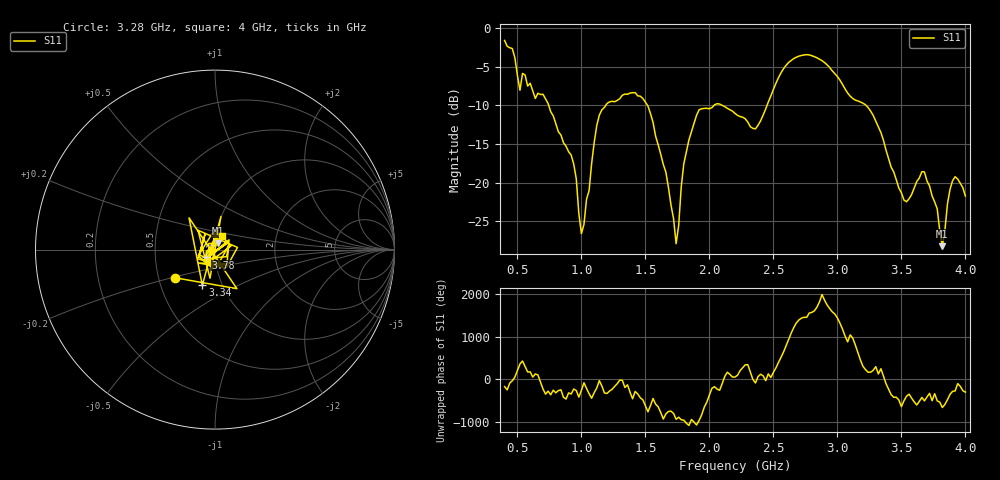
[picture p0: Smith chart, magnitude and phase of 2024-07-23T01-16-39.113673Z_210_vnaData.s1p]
!Created with skrf (http://scikit-rf.org).
# Hz S RI R 50.0
!freq ReS11 ImS11
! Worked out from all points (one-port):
!   181 points, 400 MHz to 4 GHz, reference 50 ohm
!   lowest |S11| = -28.2 dB at 3.82 GHz (marker M1), VSWR 1.08, Z = 51.6 + j3.61 ohm
!   |S11| at or under -10 dB: 744.4 MHz to 1.191 GHz (446.2 MHz wide, 46.1 % of centre); 1.516 GHz to 2.036 GHz (520.1 MHz wide, 29.3 % of centre); 3.224 GHz to end of sweep (the widest 3 of 4)
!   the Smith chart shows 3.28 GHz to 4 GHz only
!   S11 on the Smith chart (normalised r, x): 3.28 GHz: 0.61, -0.21; 3.34 GHz: 0.81, -0.34; 3.78 GHz: 0.90, -0.08; 4 GHz: 1.06, +0.16
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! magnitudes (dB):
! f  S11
! 400 MHz  -1.6
! 460 MHz  -2.7
! 520 MHz  -8.0
! 540 MHz  -5.9
! 700 MHz  -8.6
! 860 MHz  -14.8
! 940 MHz  -17.6
! 1 GHz  -26.6
! 1.14 GHz  -11.3
! 1.3 GHz  -9.1
! 1.52 GHz  -10.1
! 1.66 GHz  -18.6
! 1.74 GHz  -27.9
! 1.76 GHz  -25.5
! 1.8 GHz  -17.6
! 1.92 GHz  -10.6
! 2.2 GHz  -11.0
! 2.36 GHz  -13.0
! 2.66 GHz  -3.9
! 3.1 GHz  -8.8
! 3.28 GHz  -11.3
! 3.34 GHz  -13.5
! 3.56 GHz  -22.1
! 3.68 GHz  -18.6
! 3.78 GHz  -23.4
! 3.82 GHz  -28.2
! 3.9 GHz  -19.7
! 4 GHz  -21.7
